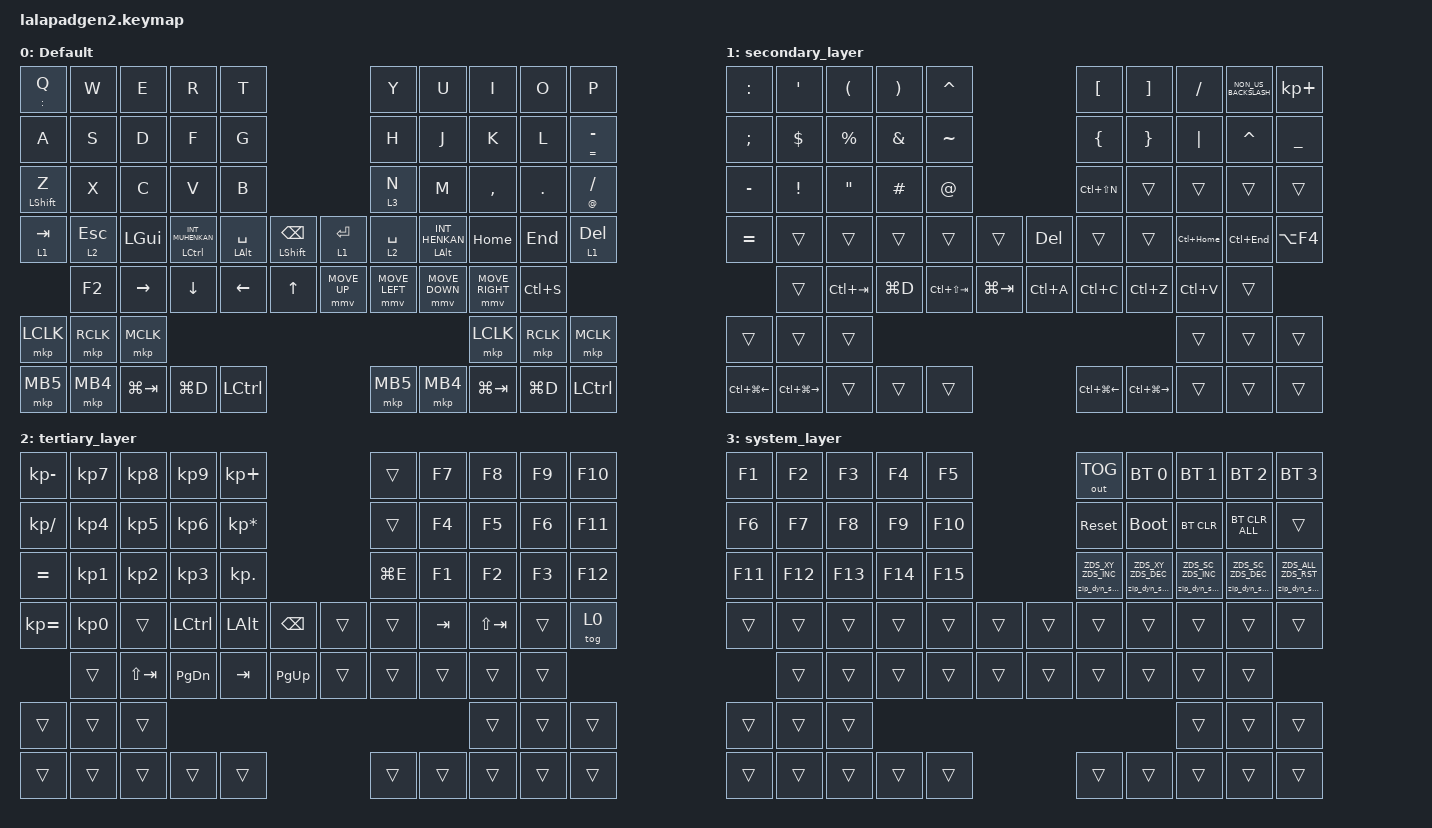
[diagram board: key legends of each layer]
#include <input/processors.dtsi>
#include <dt-bindings/zmk/zip_dynamic_scale.h>
#include <behaviors.dtsi>
#include <dt-bindings/zmk/bt.h>
#include <dt-bindings/zmk/keys.h>
#include <dt-bindings/zmk/outputs.h>
#include <dt-bindings/zmk/pointing.h>

#define DEFAULT_LAYER   0
#define SECONDARY_LAYER 1
#define TERTIARY_LAYER  2
#define SYSTEM_LAYER    3

&mt { quick-tap-ms = <200>; };

&lt { quick-tap-ms = <200>; };

/ {
    behaviors {
        zip_dyn_scale: zip_dyn_scale {
            compatible = "zmk,behavior-zip-dynamic-scale";
            display-name = "TP Speed";
            #binding-cells = <2>;
        };

        zip_dyn_scale_set: zip_dyn_scale_set {
            compatible = "zmk,behavior-zip-dynamic-scale-set";
            display-name = "TP Speed Set";
            #binding-cells = <2>;
        };

        mt2: mod_tap2 {
            compatible = "zmk,behavior-hold-tap";
            display-name = "Mod-Tap 2";
            #binding-cells = <2>;
            flavor = "tap-preferred";
            tapping-term-ms = <200>;
            quick-tap-ms = <200>;
            require-prior-idle-ms = <125>;
            bindings = <&kp>, <&kp>;
        };

        tap_dance_layer_1and2: tap_dance_layer_1and2 {
            compatible = "zmk,behavior-tap-dance";
            display-name = "TD mo1/mo3";
            #binding-cells = <0>;
            bindings = <&mo 1>, <&mo 3>;
        };
    };

    combos {
        compatible = "zmk,combos";

        CONBO_bt1 {
            bindings = <&bt BT_SEL 1>;
            key-positions = <5 6>;
        };

        COMBO_bt2 {
            bindings = <&bt BT_SEL 2>;
            key-positions = <15 16>;
        };

        gamen_conbo {
            bindings = <&kp LG(LS(LEFT_ARROW))>;
            key-positions = <4 14>;
        };

        gamen2conbo {
            bindings = <&kp LG(UP_ARROW)>;
            key-positions = <5 15>;
        };

        printsc {
            bindings = <&kp PRINTSCREEN>;
            key-positions = <31 30>;
        };

        kyapcha {
            bindings = <&kp LG(LS(S))>;
            key-positions = <20 21>;
        };

        kaso-l {
            bindings = <&kp LG(LC(LEFT_ARROW))>;
            key-positions = <26 25>;
        };

        kaso-r {
            bindings = <&kp LG(LC(RIGHT_ARROW))>;
            key-positions = <26 27>;
        };

        lock {
            bindings = <&kp LG(L)>;
            key-positions = <8 9>;
        };

        number {
            bindings = <&tog 2>;
            key-positions = <39 41 40>;
        };

        layer {
            bindings = <&to 3>;
            key-positions = <20 30>;
        };

        bt0 {
            bindings = <&bt BT_SEL 0>;
            key-positions = <30 31 32 33>;
        };
    };

    macros {
        kakko_macro: kakko_macro {
            compatible = "zmk,behavior-macro";
            #binding-cells = <0>;
            bindings = <&kp LEFT_PARENTHESIS &kp RIGHT_PARENTHESIS &kp ENTER &kp LEFT>;
            display-name = "Kakko ()";
        };
    };

    keymap {
        compatible = "zmk,keymap";

        DEFAULT_LAYER {
            display-name = "Default";
            bindings = <
&mt COLON Q        &kp W         &kp E         &kp R                   &kp T                                                       &kp Y           &kp U                    &kp I            &kp O       &kp P
&kp A              &kp S         &kp D         &kp F                   &kp G                                                       &kp H           &kp J                    &kp K            &kp L       &mt2 EQUAL MINUS
&mt2 LEFT_SHIFT Z  &kp X         &kp C         &kp V                   &kp B                                                       &lt 3 N         &kp M                    &kp COMMA        &kp PERIOD  &mt AT SLASH
&lt 1 TAB          &lt 2 ESCAPE  &kp LEFT_GUI  &mt LCTRL INT_MUHENKAN  &mt LEFT_ALT SPACE  &mt LEFT_SHIFT BACKSPACE  &lt 1 ENTER   &lt 2 SPACE     &mt LEFT_ALT INT_HENKAN  &kp HOME         &kp END     &lt 1 DEL
                   &kp F2        &kp RIGHT     &kp DOWN                &kp LEFT            &kp UP                    &mmv MOVE_UP  &mmv MOVE_LEFT  &mmv MOVE_DOWN           &mmv MOVE_RIGHT  &kp LC(S)
&mkp LCLK          &mkp RCLK     &mkp MCLK                                                                                                                                  &mkp LCLK        &mkp RCLK   &mkp MCLK
&mkp MB5           &mkp MB4      &kp LG(TAB)   &kp LG(D)               &kp LCTRL                                                   &mkp MB5        &mkp MB4                 &kp LG(TAB)      &kp LG(D)   &kp LCTRL
            >;
        };

        SECONDARY_LAYER {
            display-name = "secondary_layer";
            bindings = <
&kp COLON         &kp SINGLE_QUOTE   &kp LEFT_PARENTHESIS  &kp RIGHT_PARENTHESIS  &kp CARET                                &kp LEFT_BRACKET  &kp RIGHT_BRACKET  &kp SLASH     &kp NON_US_BACKSLASH  &kp KP_PLUS
&kp SEMI          &kp DOLLAR         &kp PERCENT           &kp AMPERSAND          &kp TILDE                                &kp LEFT_BRACE    &kp RIGHT_BRACE    &kp PIPE      &kp CARET             &kp UNDER
&kp MINUS         &kp EXCLAMATION    &kp DOUBLE_QUOTES     &kp HASH               &kp AT                                   &kp LC(LS(N))     &trans             &trans        &trans                &trans
&kp EQUAL         &trans             &trans                &trans                 &trans           &trans       &kp DEL    &trans            &trans             &kp LC(HOME)  &kp LC(END)           &kp LA(F4)
                  &trans             &kp LC(TAB)           &kp LG(D)              &kp LC(LS(TAB))  &kp LG(TAB)  &kp LC(A)  &kp LC(C)         &kp LC(Z)          &kp LC(V)     &trans
&trans            &trans             &trans                                                                                                                     &trans        &trans                &trans
&kp LC(LG(LEFT))  &kp LC(LG(RIGHT))  &trans                &trans                 &trans                                   &kp LC(LG(LEFT))  &kp LC(LG(RIGHT))  &trans        &trans                &trans
            >;
        };

        TERTIARY_LAYER {
            display-name = "tertiary_layer";
            bindings = <
&kp KP_MINUS  &kp KP_N7        &kp KP_NUMBER_8  &kp KP_N9      &kp KP_PLUS                             &trans     &kp F7   &kp F8       &kp F9  &kp F10
&kp KP_SLASH  &kp KP_NUMBER_4  &kp KP_NUMBER_5  &kp KP_N6      &kp KP_ASTERISK                         &trans     &kp F4   &kp F5       &kp F6  &kp F11
&kp EQUAL     &kp KP_NUMBER_1  &kp KP_N2        &kp KP_N3      &kp KP_DOT                              &kp LG(E)  &kp F1   &kp F2       &kp F3  &kp F12
&kp KP_EQUAL  &kp KP_NUMBER_0  &trans           &kp LCTRL      &kp LEFT_ALT     &kp BACKSPACE  &trans  &trans     &kp TAB  &kp LS(TAB)  &trans  &tog 0
              &trans           &kp LS(TAB)      &kp PAGE_DOWN  &kp TAB          &kp PAGE_UP    &trans  &trans     &trans   &trans       &trans
&trans        &trans           &trans                                                                                      &trans       &trans  &trans
&trans        &trans           &trans           &trans         &trans                                  &trans     &trans   &trans       &trans  &trans
            >;
        };

        SYSTEM_LAYER {
            display-name = "system_layer";
            bindings = <
&kp F1   &kp F2   &kp F3   &kp F4   &kp F5                   &out OUT_TOG                   &bt BT_SEL 0                   &bt BT_SEL 1                   &bt BT_SEL 2                   &bt BT_SEL 3
&kp F6   &kp F7   &kp F8   &kp F9   &kp F10                  &sys_reset                     &bootloader                    &bt BT_CLR                     &bt BT_CLR_ALL                 &trans
&kp F11  &kp F12  &kp F13  &kp F14  &kp F15                  &zip_dyn_scale ZDS_XY ZDS_INC  &zip_dyn_scale ZDS_XY ZDS_DEC  &zip_dyn_scale ZDS_SC ZDS_INC  &zip_dyn_scale ZDS_SC ZDS_DEC  &zip_dyn_scale ZDS_ALL ZDS_RST
&trans   &trans   &trans   &trans   &trans   &trans  &trans  &trans                         &trans                         &trans                         &trans                         &trans
         &trans   &trans   &trans   &trans   &trans  &trans  &trans                         &trans                         &trans                         &trans
&trans   &trans   &trans                                                                                                   &trans                         &trans                         &trans
&trans   &trans   &trans   &trans   &trans                   &trans                         &trans                         &trans                         &trans                         &trans
            >;
        };

        // ZMK Studio で追加できる予備レイヤー
        extra1 { status = "reserved"; };
        extra2 { status = "reserved"; };
        extra3 { status = "reserved"; };
    };

    conditional_layers {
        compatible = "zmk,conditional-layers";

        Cond_Syslayer {
            if-layers = <1 2>;
            then-layer = <3>;
        };
    };
};
